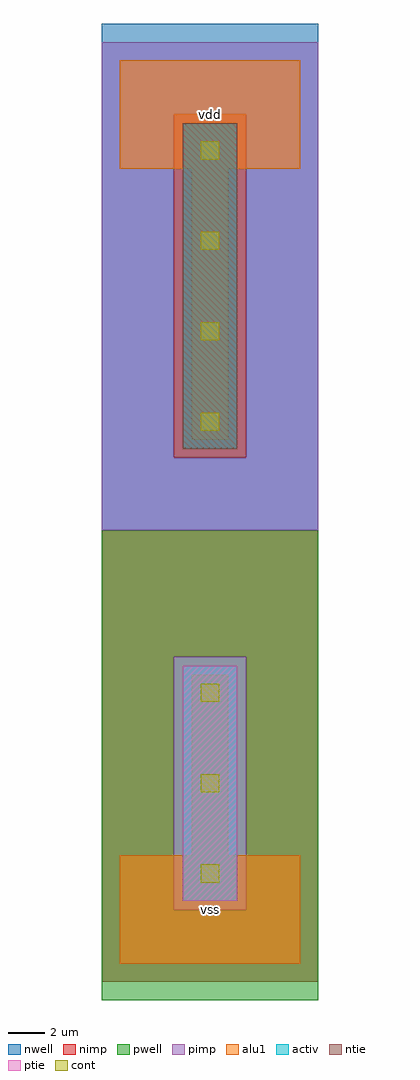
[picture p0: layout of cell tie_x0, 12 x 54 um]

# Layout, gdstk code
import gdstk
lib = gdstk.Library(unit=1e-6, precision=1e-09)
def R(c, l, rs):  # rectangles x0, y0, x1, y1
    for r in rs: c.add(gdstk.rectangle(r[:2], r[2:], *l))
def A(c, l, x, y, w, h, nx, ny, dx, dy):  # array of equal rectangles
    R(c, l, [(x+i*dx, y+j*dy, x+i*dx+w, y+j*dy+h) for i in range(nx) for j in range(ny)])
ntie = (5, 0)
ptie = (6, 0)
cont = (25, 0)
pwell = (41, 0)
nwell = (42, 0)
activ = (43, 0)
pimp = (44, 0)
nimp = (45, 0)
alu1 = (49, 0)

tie_x0 = lib.new_cell('tie_x0')
R(tie_x0, ntie, [(3.5,28.5,6.5,46.5)])
R(tie_x0, ptie, [(3.5,3.5,6.5,16.5)])
A(tie_x0, cont, 4.5, 4.5, 1, 1, 1, 3, 0, 5)
A(tie_x0, cont, 4.5, 29.5, 1, 1, 1, 4, 0, 5)
R(tie_x0, pwell, [(-1,-2,11,24)])
R(tie_x0, nwell, [(-1,24,11,52)])
R(tie_x0, activ, [(3.5,3.5,6.5,16.5), (3.5,28.5,6.5,46.5)])
R(tie_x0, pimp, [(3,3,7,17), (-1,24,11,28), (-1,28,3,47), (7,28,11,47), (-1,47,11,51)])
R(tie_x0, nimp, [(-1,-1,11,3), (-1,3,3,17), (7,3,11,17), (-1,17,11,24), (3,28,7,47)])
R(tie_x0, alu1, [(0,0,10,6), (4,6,6,16), (4,29,6,44), (0,44,10,50)])
tie_x0.add(gdstk.Label('vss', (5,3), layer=49, texttype=0))
tie_x0.add(gdstk.Label('vdd', (5,47), layer=49, texttype=0))

lib.write_gds('tie_x0.gds')
